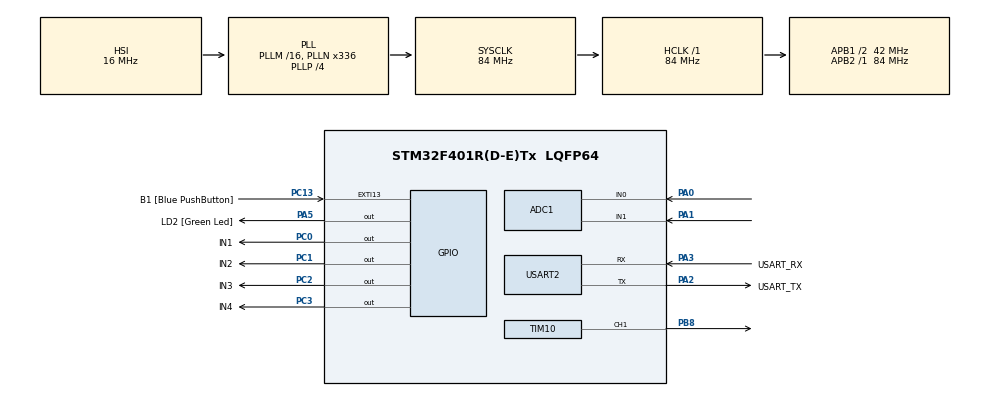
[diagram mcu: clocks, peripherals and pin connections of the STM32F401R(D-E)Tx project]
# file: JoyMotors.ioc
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ADC1.Channel-0\#ChannelRegularConversion=ADC_CHANNEL_0
ADC1.Channel-1\#ChannelRegularConversion=ADC_CHANNEL_1
ADC1.NbrOfConversion=2
ADC1.NbrOfConversionFlag=1
ADC1.Rank-0\#ChannelRegularConversion=1
ADC1.Rank-1\#ChannelRegularConversion=2
ADC1.SamplingTime-0\#ChannelRegularConversion=ADC_SAMPLETIME_480CYCLES
ADC1.SamplingTime-1\#ChannelRegularConversion=ADC_SAMPLETIME_480CYCLES
ADC1.ScanConvMode=ENABLE
ADC1.master=1
Mcu.Family=STM32F4
Mcu.Name=STM32F401R(D-E)Tx
Mcu.Package=LQFP64
NVIC.ADC_IRQn=true\:0\:0\:false\:false\:true\:true
NVIC.PriorityGroup=NVIC_PRIORITYGROUP_0
PA0-WKUP.Signal=ADCx_IN0
PA1.Signal=ADCx_IN1
PA13.GPIO_Label=TMS
PA13.Mode=Serial_Wire
PA13.Signal=SYS_JTMS-SWDIO
PA14.GPIO_Label=TCK
PA14.Mode=Serial_Wire
PA14.Signal=SYS_JTCK-SWCLK
PA2.GPIO_Label=USART_TX
PA2.GPIO_Mode=GPIO_MODE_AF_PP
PA2.GPIO_PuPd=GPIO_NOPULL
PA2.GPIO_Speed=GPIO_SPEED_FREQ_LOW
PA2.Mode=Asynchronous
PA2.Signal=USART2_TX
PA3.GPIO_Label=USART_RX
PA3.GPIO_Mode=GPIO_MODE_AF_PP
PA3.GPIO_PuPd=GPIO_NOPULL
PA3.GPIO_Speed=GPIO_SPEED_FREQ_LOW
PA3.Mode=Asynchronous
PA3.Signal=USART2_RX
PA5.GPIO_Label=LD2 [Green Led]
PA5.GPIO_Mode=GPIO_MODE_OUTPUT_PP
PA5.GPIO_PuPd=GPIO_NOPULL
PA5.GPIO_Speed=GPIO_SPEED_FREQ_LOW
PA5.Signal=GPIO_Output
PB3.GPIO_Label=SWO
PB3.Signal=SYS_JTDO-SWO
PB8.Signal=S_TIM10_CH1
PC0.GPIO_Label=IN1
PC0.Signal=GPIO_Output
PC1.GPIO_Label=IN2
PC1.Signal=GPIO_Output
PC13-ANTI_TAMP.GPIO_Label=B1 [Blue PushButton]
PC13-ANTI_TAMP.GPIO_ModeDefaultEXTI=GPIO_MODE_IT_FALLING
PC13-ANTI_TAMP.GPIO_PuPd=GPIO_NOPULL
PC13-ANTI_TAMP.Signal=GPXTI13
PC14-OSC32_IN.Mode=LSE-External-Oscillator
PC14-OSC32_IN.Signal=RCC_OSC32_IN
PC15-OSC32_OUT.Mode=LSE-External-Oscillator
PC15-OSC32_OUT.Signal=RCC_OSC32_OUT
PC2.GPIO_Label=IN3
PC2.Signal=GPIO_Output
PC3.GPIO_Label=IN4
PC3.Signal=GPIO_Output
PH0\ -\ OSC_IN.Mode=HSE-External-Clock-Source
PH0\ -\ OSC_IN.Signal=RCC_OSC_IN
PH1\ -\ OSC_OUT.Mode=HSE-External-Clock-Source
PH1\ -\ OSC_OUT.Signal=RCC_OSC_OUT
ProjectManager.HeapSize=0x200
ProjectManager.StackSize=0x400
ProjectManager.TargetToolchain=TrueSTUDIO
RCC.48MHZClocksFreq_Value=48000000
RCC.AHBFreq_Value=84000000
RCC.APB1CLKDivider=RCC_HCLK_DIV2
RCC.APB1Freq_Value=42000000
RCC.APB1TimFreq_Value=84000000
RCC.APB2Freq_Value=84000000
RCC.APB2TimFreq_Value=84000000
RCC.CortexFreq_Value=84000000
RCC.HCLKFreq_Value=84000000
RCC.HSE_VALUE=8000000
RCC.HSI_VALUE=16000000
RCC.PLLN=336
RCC.PLLP=RCC_PLLP_DIV4
RCC.PLLQ=7
RCC.SYSCLKFreq_VALUE=84000000
RCC.SYSCLKSource=RCC_SYSCLKSOURCE_PLLCLK
RCC.VCOOutputFreq_Value=336000000
SH.ADCx_IN0.0=ADC1_IN0,IN0
SH.ADCx_IN1.0=ADC1_IN1,IN1
SH.S_TIM10_CH1.0=TIM10_CH1,PWM Generation1 CH1
TIM10.Channel=TIM_CHANNEL_1
TIM10.Period=64615
TIM10.Prescaler=25
TIM10.Pulse=4846
USART2.VirtualMode=VM_ASYNC
VP_TIM10_VS_ClockSourceINT.Mode=Enable_Timer
board=NUCLEO-F401RE

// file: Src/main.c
/**
  ******************************************************************************
  * @file           : main.c
  * @brief          : Main program body
  ******************************************************************************
  ** This notice applies to any and all portions of this file
  * that are not between comment pairs USER CODE BEGIN and
  * USER CODE END. Other portions of this file, whether
  * inserted by the user or by software development tools
  * are owned by their respective copyright owners.
  *
  * COPYRIGHT(c) 2018 STMicroelectronics
  *
  * Redistribution and use in source and binary forms, with or without modification,
  * are permitted provided that the following conditions are met:
  *   1. Redistributions of source code must retain the above copyright notice,
  *      this list of conditions and the following disclaimer.
  *   2. Redistributions in binary form must reproduce the above copyright notice,
  *      this list of conditions and the following disclaimer in the documentation
  *      and/or other materials provided with the distribution.
  *   3. Neither the name of STMicroelectronics nor the names of its contributors
  *      may be used to endorse or promote products derived from this software
  *      without specific prior written permission.
  *
  * THIS SOFTWARE IS PROVIDED BY THE COPYRIGHT HOLDERS AND CONTRIBUTORS "AS IS"
  * AND ANY EXPRESS OR IMPLIED WARRANTIES, INCLUDING, BUT NOT LIMITED TO, THE
  * IMPLIED WARRANTIES OF MERCHANTABILITY AND FITNESS FOR A PARTICULAR PURPOSE ARE
  * DISCLAIMED. IN NO EVENT SHALL THE COPYRIGHT HOLDER OR CONTRIBUTORS BE LIABLE
  * FOR ANY DIRECT, INDIRECT, INCIDENTAL, SPECIAL, EXEMPLARY, OR CONSEQUENTIAL
  * DAMAGES (INCLUDING, BUT NOT LIMITED TO, PROCUREMENT OF SUBSTITUTE GOODS OR
  * SERVICES; LOSS OF USE, DATA, OR PROFITS; OR BUSINESS INTERRUPTION) HOWEVER
  * CAUSED AND ON ANY THEORY OF LIABILITY, WHETHER IN CONTRACT, STRICT LIABILITY,
  * OR TORT (INCLUDING NEGLIGENCE OR OTHERWISE) ARISING IN ANY WAY OUT OF THE USE
  * OF THIS SOFTWARE, EVEN IF ADVISED OF THE POSSIBILITY OF SUCH DAMAGE.
  *
  ******************************************************************************
  */
#include "main.h"
#include "stm32f4xx_hal.h"

ADC_HandleTypeDef hadc1;

TIM_HandleTypeDef htim10;

UART_HandleTypeDef huart2;

/* USER CODE BEGIN PV */
/* Private variables ---------------------------------------------------------*/
int rank = 0;
uint32_t x_in = 0;
uint32_t y_in = 0;

uint8_t step = 0;
uint8_t resetPins = 0;

uint8_t printData[40];
/* USER CODE END PV */

void SystemClock_Config(void);
static void MX_GPIO_Init(void);
static void MX_USART2_UART_Init(void);
static void MX_TIM10_Init(void);
static void MX_ADC1_Init(void);

void HAL_TIM_MspPostInit(TIM_HandleTypeDef *htim);

/* USER CODE BEGIN PFP */

/* Private function prototypes -----------------------------------------------*/

void set_pulse_width(float pw_time){
	pw_time = (pw_time/20) * 64161;
	__HAL_TIM_SET_COMPARE(&htim10, TIM_CHANNEL_1, pw_time);
}

void step_motor(int dir){

	if(dir == 1 && step != 0)
		switch(step){
		case 1:{
			HAL_GPIO_WritePin(GPIOC, IN1_Pin, 0);
			HAL_GPIO_WritePin(GPIOC, IN2_Pin, 1);
			HAL_GPIO_WritePin(GPIOC, IN3_Pin, 0);
			HAL_GPIO_WritePin(GPIOC, IN4_Pin, 0);
			step = 2;
			break;
		}
		case 2:{
			HAL_GPIO_WritePin(GPIOC, IN1_Pin, 0);
			HAL_GPIO_WritePin(GPIOC, IN2_Pin, 0);
			HAL_GPIO_WritePin(GPIOC, IN3_Pin, 1);
			HAL_GPIO_WritePin(GPIOC, IN4_Pin, 0);
			step = 4;
			break;
		}
		case 4:{
			HAL_GPIO_WritePin(GPIOC, IN1_Pin, 0);
			HAL_GPIO_WritePin(GPIOC, IN2_Pin, 0);
			HAL_GPIO_WritePin(GPIOC, IN3_Pin, 0);
			HAL_GPIO_WritePin(GPIOC, IN4_Pin, 1);
			step = 8;
			break;
		}
		case 8:{
			HAL_GPIO_WritePin(GPIOC, IN1_Pin, 1);
			HAL_GPIO_WritePin(GPIOC, IN2_Pin, 0);
			HAL_GPIO_WritePin(GPIOC, IN3_Pin, 0);
			HAL_GPIO_WritePin(GPIOC, IN4_Pin, 0);
			step = 1;
			break;
		}
		}else if(dir == 2 && step != 0)
			switch(step){
			case 1:{
				HAL_GPIO_WritePin(GPIOC, IN1_Pin, 0);
				HAL_GPIO_WritePin(GPIOC, IN2_Pin, 0);
				HAL_GPIO_WritePin(GPIOC, IN3_Pin, 0);
				HAL_GPIO_WritePin(GPIOC, IN4_Pin, 1);
				step = 8;
				break;
			}
			case 2:{
				HAL_GPIO_WritePin(GPIOC, IN1_Pin, 1);
				HAL_GPIO_WritePin(GPIOC, IN2_Pin, 0);
				HAL_GPIO_WritePin(GPIOC, IN3_Pin, 0);
				HAL_GPIO_WritePin(GPIOC, IN4_Pin, 0);
				step = 1;
				break;
			}
			case 4:{
				HAL_GPIO_WritePin(GPIOC, IN1_Pin, 0);
				HAL_GPIO_WritePin(GPIOC, IN2_Pin, 1);
				HAL_GPIO_WritePin(GPIOC, IN3_Pin, 0);
				HAL_GPIO_WritePin(GPIOC, IN4_Pin, 0);
				step = 2;
				break;
			}
			case 8:{
				HAL_GPIO_WritePin(GPIOC, IN1_Pin, 0);
				HAL_GPIO_WritePin(GPIOC, IN2_Pin, 0);
				HAL_GPIO_WritePin(GPIOC, IN3_Pin, 1);
				HAL_GPIO_WritePin(GPIOC, IN4_Pin, 0);
				step = 4;
				break;
			}
			}
	if(step == 0){
		HAL_GPIO_WritePin(GPIOC, IN1_Pin, 1);
		HAL_GPIO_WritePin(GPIOC, IN2_Pin, 0);
		HAL_GPIO_WritePin(GPIOC, IN3_Pin, 0);
		HAL_GPIO_WritePin(GPIOC, IN4_Pin, 0);
		step = 1;
	}

	HAL_Delay(2);

}

/* USER CODE END PFP */

int main(void)
{

  /* MCU Configuration----------------------------------------------------------*/

  /* Reset of all peripherals, Initializes the Flash interface and the Systick. */
  HAL_Init();

  /* Configure the system clock */
  SystemClock_Config();

  /* Initialize all configured peripherals */
  MX_GPIO_Init();
  MX_USART2_UART_Init();
  MX_TIM10_Init();
  MX_ADC1_Init();
  /* USER CODE BEGIN 2 */
  HAL_TIM_PWM_Start(&htim10, TIM_CHANNEL_1);

  float toMove;
  toMove = 2.0/4090.0;

  /* USER CODE END 2 */

  /* Infinite loop */
  /* USER CODE BEGIN WHILE */
  while (1)
  {
	  HAL_ADC_Start(&hadc1);
	  if(HAL_ADC_PollForConversion(&hadc1, HAL_MAX_DELAY) == HAL_OK){
	  	x_in = HAL_ADC_GetValue(&hadc1);
	  	if(HAL_ADC_PollForConversion(&hadc1, HAL_MAX_DELAY) == HAL_OK){
	  		y_in = HAL_ADC_GetValue(&hadc1);
	  	}
	  }

	  HAL_ADC_Stop(&hadc1);

/*
	  if(x_in <= 500)
		  set_pulse_width(0.5);
	  else if(x_in <= 1800 && x_in > 500)
		  set_pulse_width(1);
	  else if(x_in <= 2200 && x_in > 1800)
		  set_pulse_width(1.5);
	  else if(x_in <= 3500  && x_in > 2200)
		  set_pulse_width(2);
	  else if(x_in > 3500)
		  set_pulse_width(2.5);*/

	  set_pulse_width(0.5+(toMove*x_in));

	  if(y_in < 30)
		  step_motor(1);
	  else if(y_in > 4000)
		  step_motor(2);

	  sprintf(printData, "STEP: %d\n\r", 5);
	  HAL_UART_Transmit(&huart2,printData, strlen(printData), 100);

  /* USER CODE END WHILE */

  }

}

void SystemClock_Config(void)
{

  RCC_OscInitTypeDef RCC_OscInitStruct;
  RCC_ClkInitTypeDef RCC_ClkInitStruct;

    /**Configure the main internal regulator output voltage
    */
  __HAL_RCC_PWR_CLK_ENABLE();

  __HAL_PWR_VOLTAGESCALING_CONFIG(PWR_REGULATOR_VOLTAGE_SCALE2);

    /**Initializes the CPU, AHB and APB busses clocks
    */
  RCC_OscInitStruct.OscillatorType = RCC_OSCILLATORTYPE_HSI;
  RCC_OscInitStruct.HSIState = RCC_HSI_ON;
  RCC_OscInitStruct.HSICalibrationValue = 16;
  RCC_OscInitStruct.PLL.PLLState = RCC_PLL_ON;
  RCC_OscInitStruct.PLL.PLLSource = RCC_PLLSOURCE_HSI;
  RCC_OscInitStruct.PLL.PLLM = 16;
  RCC_OscInitStruct.PLL.PLLN = 336;
  RCC_OscInitStruct.PLL.PLLP = RCC_PLLP_DIV4;
  RCC_OscInitStruct.PLL.PLLQ = 7;
  if (HAL_RCC_OscConfig(&RCC_OscInitStruct) != HAL_OK)
  {
    _Error_Handler(__FILE__, __LINE__);
  }

    /**Initializes the CPU, AHB and APB busses clocks
    */
  RCC_ClkInitStruct.ClockType = RCC_CLOCKTYPE_HCLK|RCC_CLOCKTYPE_SYSCLK
                              |RCC_CLOCKTYPE_PCLK1|RCC_CLOCKTYPE_PCLK2;
  RCC_ClkInitStruct.SYSCLKSource = RCC_SYSCLKSOURCE_PLLCLK;
  RCC_ClkInitStruct.AHBCLKDivider = RCC_SYSCLK_DIV1;
  RCC_ClkInitStruct.APB1CLKDivider = RCC_HCLK_DIV2;
  RCC_ClkInitStruct.APB2CLKDivider = RCC_HCLK_DIV1;

  if (HAL_RCC_ClockConfig(&RCC_ClkInitStruct, FLASH_LATENCY_2) != HAL_OK)
  {
    _Error_Handler(__FILE__, __LINE__);
  }

    /**Configure the Systick interrupt time
    */
  HAL_SYSTICK_Config(HAL_RCC_GetHCLKFreq()/1000);

    /**Configure the Systick
    */
  HAL_SYSTICK_CLKSourceConfig(SYSTICK_CLKSOURCE_HCLK);

  /* SysTick_IRQn interrupt configuration */
  HAL_NVIC_SetPriority(SysTick_IRQn, 0, 0);
}

/* ADC1 init function */
static void MX_ADC1_Init(void)
{

  ADC_ChannelConfTypeDef sConfig;

    /**Configure the global features of the ADC (Clock, Resolution, Data Alignment and number of conversion)
    */
  hadc1.Instance = ADC1;
  hadc1.Init.ClockPrescaler = ADC_CLOCK_SYNC_PCLK_DIV4;
  hadc1.Init.Resolution = ADC_RESOLUTION_12B;
  hadc1.Init.ScanConvMode = ENABLE;
  hadc1.Init.ContinuousConvMode = DISABLE;
  hadc1.Init.DiscontinuousConvMode = DISABLE;
  hadc1.Init.ExternalTrigConvEdge = ADC_EXTERNALTRIGCONVEDGE_NONE;
  hadc1.Init.ExternalTrigConv = ADC_SOFTWARE_START;
  hadc1.Init.DataAlign = ADC_DATAALIGN_RIGHT;
  hadc1.Init.NbrOfConversion = 2;
  hadc1.Init.DMAContinuousRequests = DISABLE;
  hadc1.Init.EOCSelection = ADC_EOC_SINGLE_CONV;
  if (HAL_ADC_Init(&hadc1) != HAL_OK)
  {
    _Error_Handler(__FILE__, __LINE__);
  }

    /**Configure for the selected ADC regular channel its corresponding rank in the sequencer and its sample time.
    */
  sConfig.Channel = ADC_CHANNEL_0;
  sConfig.Rank = 1;
  sConfig.SamplingTime = ADC_SAMPLETIME_480CYCLES;
  if (HAL_ADC_ConfigChannel(&hadc1, &sConfig) != HAL_OK)
  {
    _Error_Handler(__FILE__, __LINE__);
  }

    /**Configure for the selected ADC regular channel its corresponding rank in the sequencer and its sample time.
    */
  sConfig.Channel = ADC_CHANNEL_1;
  sConfig.Rank = 2;
  if (HAL_ADC_ConfigChannel(&hadc1, &sConfig) != HAL_OK)
  {
    _Error_Handler(__FILE__, __LINE__);
  }

}

/* TIM10 init function */
static void MX_TIM10_Init(void)
{

  TIM_OC_InitTypeDef sConfigOC;

  htim10.Instance = TIM10;
  htim10.Init.Prescaler = 25;
  htim10.Init.CounterMode = TIM_COUNTERMODE_UP;
  htim10.Init.Period = 64615;
  htim10.Init.ClockDivision = TIM_CLOCKDIVISION_DIV1;
  if (HAL_TIM_Base_Init(&htim10) != HAL_OK)
  {
    _Error_Handler(__FILE__, __LINE__);
  }

  if (HAL_TIM_PWM_Init(&htim10) != HAL_OK)
  {
    _Error_Handler(__FILE__, __LINE__);
  }

  sConfigOC.OCMode = TIM_OCMODE_PWM1;
  sConfigOC.Pulse = 4846;
  sConfigOC.OCPolarity = TIM_OCPOLARITY_HIGH;
  sConfigOC.OCFastMode = TIM_OCFAST_DISABLE;
  if (HAL_TIM_PWM_ConfigChannel(&htim10, &sConfigOC, TIM_CHANNEL_1) != HAL_OK)
  {
    _Error_Handler(__FILE__, __LINE__);
  }

  HAL_TIM_MspPostInit(&htim10);

}

/* USART2 init function */
static void MX_USART2_UART_Init(void)
{

  huart2.Instance = USART2;
  huart2.Init.BaudRate = 115200;
  huart2.Init.WordLength = UART_WORDLENGTH_8B;
  huart2.Init.StopBits = UART_STOPBITS_1;
  huart2.Init.Parity = UART_PARITY_NONE;
  huart2.Init.Mode = UART_MODE_TX_RX;
  huart2.Init.HwFlowCtl = UART_HWCONTROL_NONE;
  huart2.Init.OverSampling = UART_OVERSAMPLING_16;
  if (HAL_UART_Init(&huart2) != HAL_OK)
  {
    _Error_Handler(__FILE__, __LINE__);
  }

}

/** Configure pins as
        * Analog
        * Input
        * Output
        * EVENT_OUT
        * EXTI
*/
static void MX_GPIO_Init(void)
{

  GPIO_InitTypeDef GPIO_InitStruct;

  /* GPIO Ports Clock Enable */
  __HAL_RCC_GPIOC_CLK_ENABLE();
  __HAL_RCC_GPIOH_CLK_ENABLE();
  __HAL_RCC_GPIOA_CLK_ENABLE();
  __HAL_RCC_GPIOB_CLK_ENABLE();

  /*Configure GPIO pin Output Level */
  HAL_GPIO_WritePin(GPIOC, IN1_Pin|IN2_Pin|IN3_Pin|IN4_Pin, GPIO_PIN_RESET);

  /*Configure GPIO pin Output Level */
  HAL_GPIO_WritePin(LD2_GPIO_Port, LD2_Pin, GPIO_PIN_RESET);

  /*Configure GPIO pin : B1_Pin */
  GPIO_InitStruct.Pin = B1_Pin;
  GPIO_InitStruct.Mode = GPIO_MODE_IT_FALLING;
  GPIO_InitStruct.Pull = GPIO_NOPULL;
  HAL_GPIO_Init(B1_GPIO_Port, &GPIO_InitStruct);

  /*Configure GPIO pins : IN1_Pin IN2_Pin IN3_Pin IN4_Pin */
  GPIO_InitStruct.Pin = IN1_Pin|IN2_Pin|IN3_Pin|IN4_Pin;
  GPIO_InitStruct.Mode = GPIO_MODE_OUTPUT_PP;
  GPIO_InitStruct.Pull = GPIO_NOPULL;
  GPIO_InitStruct.Speed = GPIO_SPEED_FREQ_LOW;
  HAL_GPIO_Init(GPIOC, &GPIO_InitStruct);

  /*Configure GPIO pin : LD2_Pin */
  GPIO_InitStruct.Pin = LD2_Pin;
  GPIO_InitStruct.Mode = GPIO_MODE_OUTPUT_PP;
  GPIO_InitStruct.Pull = GPIO_NOPULL;
  GPIO_InitStruct.Speed = GPIO_SPEED_FREQ_LOW;
  HAL_GPIO_Init(LD2_GPIO_Port, &GPIO_InitStruct);

}

void _Error_Handler(char *file, int line)
{
  while(1)
  {
  }
}

/************************ (C) COPYRIGHT STMicroelectronics *****END OF FILE****/
